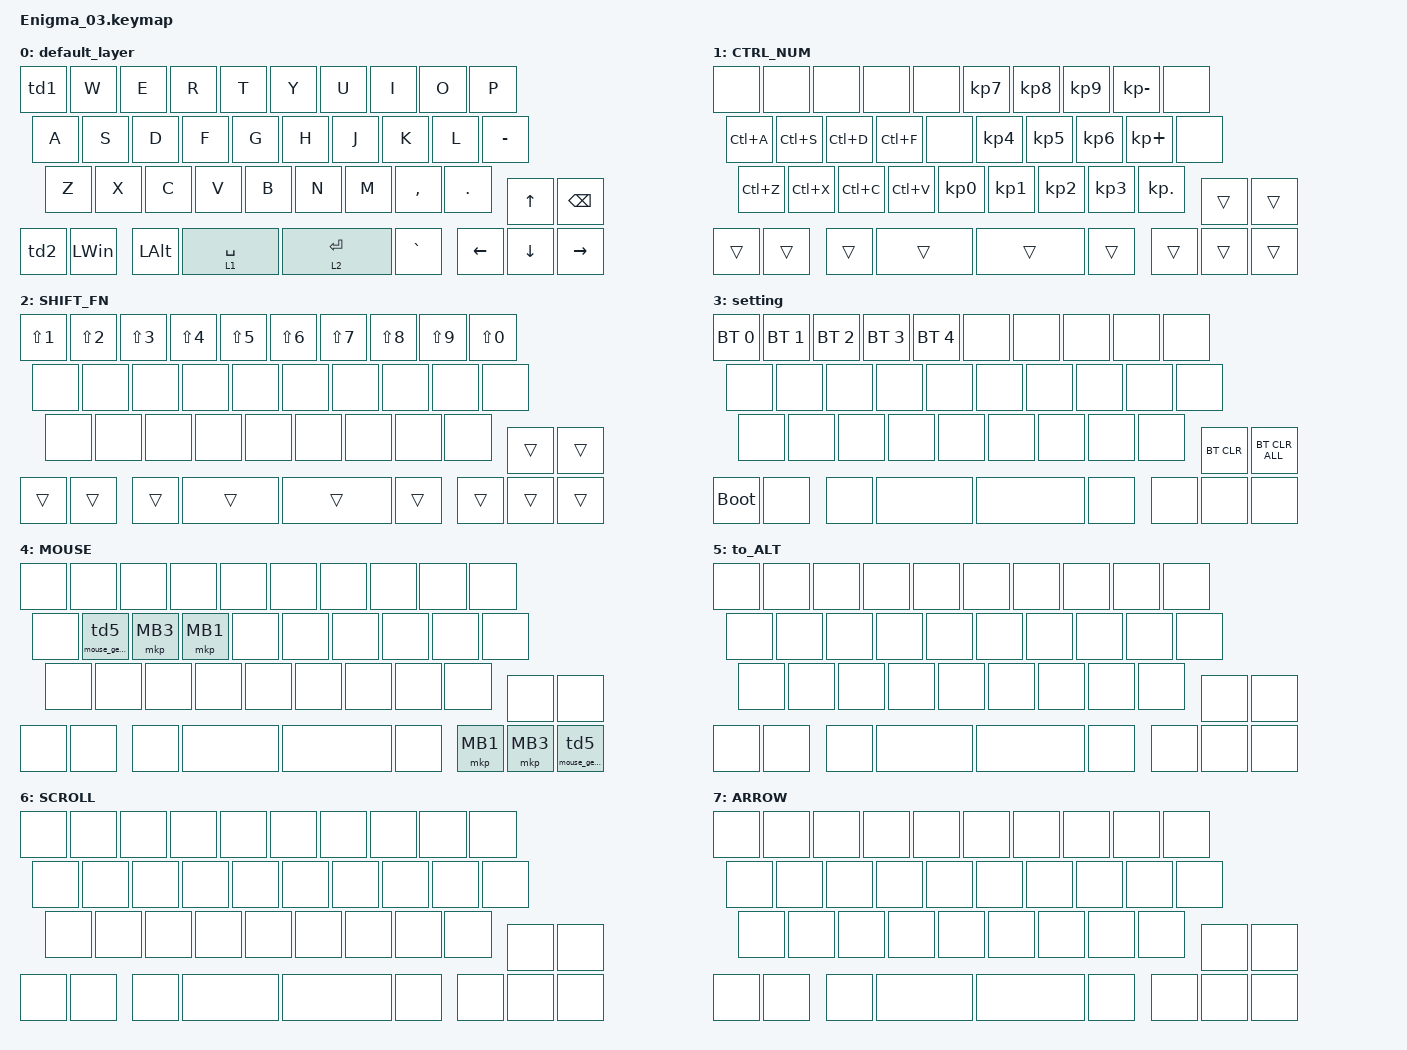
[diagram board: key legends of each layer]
#include <input/processors.dtsi>
#include <dt-bindings/zmk/input_transform.h>
#include <zephyr/dt-bindings/input/input-event-codes.h>
#include <mouse-gesture.dtsi>
#include <scroll-snap.dtsi>
#include <behaviors/rgbled_widget.dtsi>
#include <behaviors.dtsi>
#include <dt-bindings/zmk/bt.h>
#include <dt-bindings/zmk/keys.h>
#include <dt-bindings/zmk/pointing.h>

#define ZMK_POINTING_DEFAULT_SCRL_VAL 100

&trackball {
    cpi = <600>;
    swap-xy;
};

// mouse-gesture
&zip_mouse_gesture {
    stroke-size = <300>; // Optional (default: 500)
    enable-eager-mode; // Optional, but recommended
    history_back {
        pattern = <GESTURE_RIGHT>;
        bindings = <&kp LA(LEFT)>;
    };

    history_forward {
        pattern = <GESTURE_LEFT>;
        bindings = <&kp LA(RIGHT)>;
    };

    close_tab {
        pattern = <GESTURE_DOWN GESTURE_RIGHT>;
        bindings = <&kp LC(W)>;
    };

    new_tab {
        pattern = <GESTURE_DOWN GESTURE_LEFT>;
        bindings = <&kp LC(T)>;
        wait-ms = <20>;  // Optional: wait time between behaviors (default: CONFIG_ZMK_MACRO_DEFAULT_WAIT_MS)
        tap-ms = <40>;   // Optional: press duration for each behavior (default: CONFIG_ZMK_MACRO_DEFAULT_TAP_MS)
    };
};

// auto-mouse
&zip_temp_layer { require-prior-idle-ms = <200>; };

// auto-mouse
&mkp_input_listener {
    input-processors = <
        &zip_temp_layer 4 10000
    >;
};

&trackball_listener {
    // mouse-gesture
    input-processors = <
        &zip_mouse_gesture
    >;

    // auto-mouse
    auto-mouse-layer {
        layers = <1 4>;
        input-processors = <
            &zip_temp_layer 4 10000
        >;

        process-next;
    };

    // scroll-snap
    scroller {
        layers = <6>;
        input-processors = <
          &zip_xy_to_scroll_mapper
          &zip_scroll_snap
        >;

        process-next;
    };
};

/ {
    // zmk-listeners

    layer_listeners {
        compatible = "zmk,layer-listeners";

        release_alt {
            layers = <5>;
            bindings = <&kt_on LEFT_ALT &kt_off LEFT_ALT>;
        };
    };

    macros {
        // zmk-listeners

        to_kp: to_kp {
            compatible = "zmk,behavior-macro-two-param";
            #binding-cells = <2>;
            bindings = <&macro_param_1to1 &to MACRO_PLACEHOLDER &macro_param_2to1 &kp MACRO_PLACEHOLDER>;
            label = "to_kp";
        };

        // zmk-listeners

        mo_to_0: mo_to_0 {
            compatible = "zmk,behavior-macro-one-param";
            wait-ms = <0>;
            tap-ms = <0>;
            #binding-cells = <1>;
            bindings =
                <&macro_press>,
                <&macro_param_1to1 &mo MACRO_PLACEHOLDER>,
                <&macro_tap>,
                <&macro_pause_for_release>,
                <&macro_release>,
                <&macro_param_1to1 &mo MACRO_PLACEHOLDER>,
                <&macro_tap>,
                <&to 0>;

            label = "MO_to_0";
        };
    };

    behaviors {
        // Layout shift

        original_key_press: original_key_press {
            compatible = "zmk,behavior-key-press";
            #binding-cells = <1>;
            label = "KEY_PRESS";
        };

        // Layout shift

        kp: key_press {
            compatible = "zmk,behavior-layout-shift-key-press";
            #binding-cells = <1>;
            label = "LAYOUT_SHIFT_KEY_PRESS";
        };

        // zmk-listeners

        kt_on: key_toggle_on_only {
            compatible = "zmk,behavior-key-toggle";
            #binding-cells = <1>;
            display-name = "Key Toggle On";
            toggle-mode = "on";
        };

        // zmk-listeners

        kt_off: key_toggle_off_only {
            compatible = "zmk,behavior-key-toggle";
            #binding-cells = <1>;
            display-name = "Key Toggle Off";
            toggle-mode = "off";
        };

        // zmk-listeners

        lt_to_0: lt_to_0 {
            compatible = "zmk,behavior-hold-tap";
            label = "LT_to_0";
            bindings = <&mo_to_0>, <&kp>;

            #binding-cells = <2>;
            tapping-term-ms = <200>;
            quick-tap-ms = <200>;
            flavor = "balanced";
        };

        td1: tab_ctrl_q {
            compatible = "zmk,behavior-tap-dance";
            label = "tab_ctrl_q";
            #binding-cells = <0>;
            bindings = <&mt LCTRL TAB>, <&kp Q>;
        };

        td2: shift_ctrl {
            compatible = "zmk,behavior-tap-dance";
            label = "shift_ctrl";
            #binding-cells = <0>;
            bindings = <&kp LSHIFT>, <&kp LCTRL>;
        };

        td3: hz_toALT {
            compatible = "zmk,behavior-tap-dance";
            label = "hz_toALT";
            #binding-cells = <0>;
            bindings = <&lt_to_0 4 GRAVE>;
        };

        td4: f7_toALT_f8 {
            compatible = "zmk,behavior-tap-dance";
            label = "f7_toALT_f8";
            #binding-cells = <0>;
            bindings = <&lt_to_0 4 F7>, <&kp F8>;
        };

        td5: mb2_ctrl+w {
            compatible = "zmk,behavior-tap-dance";
            #binding-cells = <0>;
            bindings = <&mkp MB2>, <&kp LC(W)>;

            tapping-term-ms = <250>;
        };

        // mouse-gesture
        td6: gesture_td5 {
            compatible = "zmk,behavior-hold-tap";
            #binding-cells = <2>;
            bindings = <&mouse_gesture>, <&td5>;

            tapping-term-ms = <150>;
            flavor = "balanced";
        };
    };

    combos {
        compatible = "zmk,combos";

        mo {
            bindings = <&mo 3>;
            key-positions = <33 34>;
            layers = <1>;
        };
    };

    keymap {
        compatible = "zmk,keymap";

        default_layer {
            bindings = <
&td1   &kp W         &kp E         &kp R        &kp T        &kp Y      &kp U           &kp I           &kp O            &kp P
&kp A  &kp S         &kp D         &kp F        &kp G        &kp H      &kp J           &kp K           &kp L            &kp MINUS
&kp Z  &kp X         &kp C         &kp V        &kp B        &kp N      &kp M           &kp COMMA       &kp DOT          &kp UP_ARROW  &kp BACKSPACE
&td2   &kp LEFT_WIN  &kp LEFT_ALT  &lt 1 SPACE  &lt 2 ENTER  &kp GRAVE  &kp LEFT_ARROW  &kp DOWN_ARROW  &kp RIGHT_ARROW
            >;
        };

        CTRL_NUM {
            bindings = <
&none      &none      &none      &none      &none      &kp KP_N7  &kp KP_N8  &kp KP_N9  &kp KP_MINUS  &none
&kp LC(A)  &kp LC(S)  &kp LC(D)  &kp LC(F)  &none      &kp KP_N4  &kp KP_N5  &kp KP_N6  &kp KP_PLUS   &none
&kp LC(Z)  &kp LC(X)  &kp LC(C)  &kp LC(V)  &kp KP_N0  &kp KP_N1  &kp KP_N2  &kp KP_N3  &kp KP_DOT    &trans  &trans
&trans     &trans     &trans     &trans     &trans     &trans     &trans     &trans     &trans
            >;
        };

        SHIFT_FN {
            bindings = <
&kp LS(N1)  &kp LS(N2)  &kp LS(N3)  &kp LS(N4)  &kp LS(N5)  &kp LS(N6)  &kp LS(N7)  &kp LS(N8)  &kp LS(N9)  &kp LS(N0)
&none       &none       &none       &none       &none       &none       &none       &none       &none       &none
&none       &none       &none       &none       &none       &none       &none       &none       &none       &trans      &trans
&trans      &trans      &trans      &trans      &trans      &trans      &trans      &trans      &trans
            >;
        };

        setting {
            bindings = <
&bt BT_SEL 0  &bt BT_SEL 1  &bt BT_SEL 2  &bt BT_SEL 3  &bt BT_SEL 4  &none  &none  &none  &none  &none
&none         &none         &none         &none         &none         &none  &none  &none  &none  &none
&none         &none         &none         &none         &none         &none  &none  &none  &none  &bt BT_CLR  &bt BT_CLR_ALL
&bootloader   &none         &none         &none         &none         &none  &none  &none  &none
            >;
        };

        MOUSE {
            bindings = <
&none  &none     &none     &none     &none  &none  &none     &none     &none     &none
&none  &td6 0 0  &mkp MB3  &mkp MB1  &none  &none  &none     &none     &none     &none
&none  &none     &none     &none     &none  &none  &none     &none     &none     &none  &none
&none  &none     &none     &none     &none  &none  &mkp MB1  &mkp MB3  &td6 0 0
            >;
        };

        to_ALT {
            bindings = <
&none  &none  &none  &none  &none  &none  &none  &none  &none  &none
&none  &none  &none  &none  &none  &none  &none  &none  &none  &none
&none  &none  &none  &none  &none  &none  &none  &none  &none  &none  &none
&none  &none  &none  &none  &none  &none  &none  &none  &none
            >;
        };

        SCROLL {
            bindings = <
&none  &none  &none  &none  &none  &none  &none  &none  &none  &none
&none  &none  &none  &none  &none  &none  &none  &none  &none  &none
&none  &none  &none  &none  &none  &none  &none  &none  &none  &none  &none
&none  &none  &none  &none  &none  &none  &none  &none  &none
            >;
        };

        ARROW {
            bindings = <
&none  &none  &none  &none  &none  &none  &none  &none  &none  &none
&none  &none  &none  &none  &none  &none  &none  &none  &none  &none
&none  &none  &none  &none  &none  &none  &none  &none  &none  &none  &none
&none  &none  &none  &none  &none  &none  &none  &none  &none
            >;
        };
    };
};
